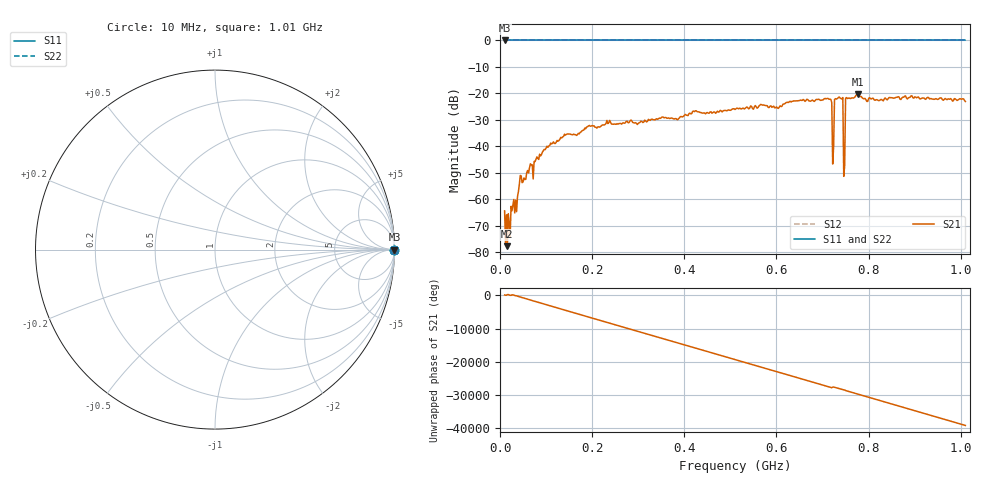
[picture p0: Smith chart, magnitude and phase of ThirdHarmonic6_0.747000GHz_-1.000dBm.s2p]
! 8/16/2025 12:59:53 AM
! C:\ANRITSUVNA\TEMP\TEMP.S2P
! CHANNEL.1
! TR.MEASUREMENT
! RAW.DATA
! RF.CORRECTION.OFF
! AVERAGING.OFF
! IF.BANDWIDTH: 5KHZ
! SWEEPTYPE:  FREQ.SWEEP(Linear)
! Reference Plane Port Info
! PORT:  PORT1  PORT2
! DISTANCE:  0  m  0  m
! TIME:  0  s  0  s
! PHASE.OFFSET:  0  deg.  0  deg.
! LOSS:  0  dB  0  dB
! REF.LOSS:  0  dB  0  dB
! REF.FREQ:  0  Hz  0  Hz
! Power Info
! POWER:  -20  dBm  -20  dBm
! EFF.POWER:  -20  dBm  -20  dBm
! SOURCE.ATTEN:  0  dB  0  dB
! TEST.ATTEN:  0  dB  0  dB
# GHZ S RI R 50.0
! FREQ.GHZ  S11RE  S11IM  S21RE  S21IM  S12RE  S12IM  S22RE  S22IM
!; PortSelection: Port_12
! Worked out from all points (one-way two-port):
!   501 points, 10 MHz to 1.01 GHz, reference 50 ohm
!   highest |S21| = -20.38 dB at 776 MHz (marker M1); lowest = -77.6 dB at 16 MHz (marker M2)
!   lowest |S11| = 0.0 dB at 10 MHz (marker M3)
!   |S11| at or under -10 dB: nowhere
!   |S22| runs from 0.0 to 0.0 dB; largest |S21 - S12| = 1.1
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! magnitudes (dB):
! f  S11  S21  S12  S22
! 10 MHz  0.0  -64.3  0.0  0.0
! 16 MHz  0.0  -77.6  0.0  0.0
! 36 MHz  0.0  -64.6  0.0  0.0
! 44 MHz  0.0  -51.0  0.0  0.0
! 78 MHz  0.0  -44.9  0.0  0.0
! 142 MHz  0.0  -35.7  0.0  0.0
! 178 MHz  0.0  -34.1  0.0  0.0
! 344 MHz  0.0  -29.5  0.0  0.0
! 510 MHz  0.0  -26.0  0.0  0.0
! 678 MHz  0.0  -22.5  0.0  0.0
! 716 MHz  0.0  -22.1  0.0  0.0
! 720 MHz  0.0  -23.5  0.0  0.0
! 722 MHz  0.0  -46.6  0.0  0.0
! 726 MHz  0.0  -22.3  0.0  0.0
! 730 MHz  0.0  -22.1  0.0  0.0
! 740 MHz  0.0  -21.9  0.0  0.0
! 744 MHz  0.0  -21.6  0.0  0.0
! 750 MHz  0.0  -21.9  0.0  0.0
! 754 MHz  0.0  -21.9  0.0  0.0
! 776 MHz  0.0  -20.4  0.0  0.0
! 844 MHz  0.0  -21.6  0.0  0.0
! 1.01 GHz  0.0  -23.0  0.0  0.0
